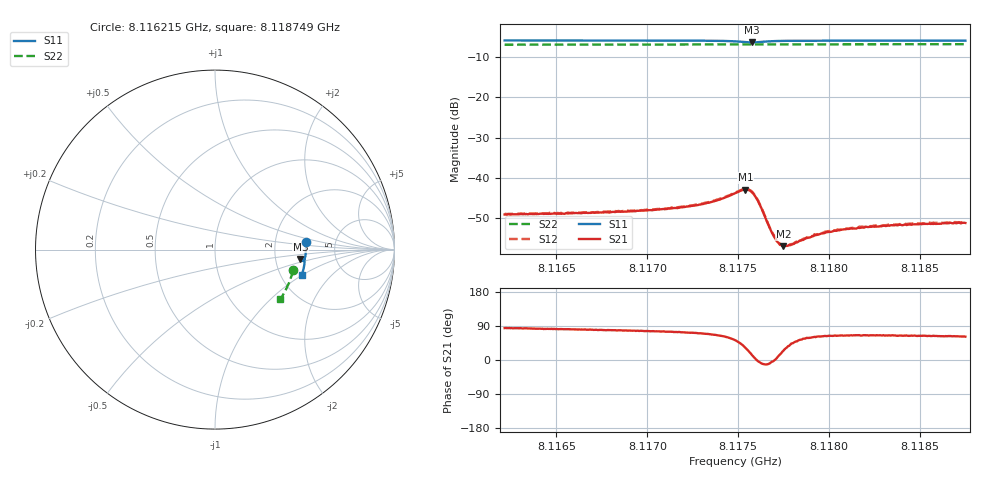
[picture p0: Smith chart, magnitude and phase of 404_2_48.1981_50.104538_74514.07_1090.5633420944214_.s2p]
#  HZ  S  RI  R  50.00
! Rohde & Schwarz Vector Network Analyzer
! Rohde-Schwarz,ZNB20-2Port,1311601062101988,3.16
! Created: UTC 3/20/2024, 11:54:09 AM
! freq[Hz]  re:S11  im:S11  re:S21  im:S21  re:S12  im:S12  re:S22  im:S22
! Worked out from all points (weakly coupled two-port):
!   401 points, 8.116215 GHz to 8.118749 GHz, reference 50 ohm
!   highest |S21| = -42.86 dB at 8.117539 GHz (marker M1); lowest = -56.9 dB at 8.117748 GHz (marker M2)
!   lowest |S11| = -6.4 dB at 8.117577 GHz (marker M3), VSWR 2.84, Z = 139 - j19.1 ohm
!   |S11| at or under -10 dB: nowhere
!   |S22| runs from -6.9 to -6.8 dB; largest |S21 - S12| = 0.00019
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8.1162151e9  0.5053 0.0423  0.000357 0.00351  0.00041 0.00359  0.4342 -0.1157
8.1166395e9  0.5063 0.0102  0.000608 0.00362  0.00069 0.00369  0.4268 -0.1442
8.1170639e9  0.505 -0.0229  0.00102 0.00394  0.0011 0.00399  0.4174 -0.1723
8.117178e9  0.504 -0.0322  0.0012 0.00413  0.00129 0.00419  0.4145 -0.1799
8.1172983e9  0.5021 -0.043  0.00161 0.00446  0.00168 0.00449  0.4114 -0.1879
8.1173997e9  0.4984 -0.0529  0.00236 0.00487  0.00242 0.005  0.4085 -0.1944
8.117482e9  0.4907 -0.0612  0.00395 0.00514  0.00411 0.00519  0.4058 -0.1996
8.1175391e9  0.48 -0.0611  0.00607 0.00386  0.00619 0.00391  0.4038 -0.2028
8.1175581e9  0.4769 -0.0576  0.00653 0.00275  0.00666 0.00274  0.4031 -0.2039
8.1175771e9  0.4762 -0.0528  0.00645 0.00138  0.00657 0.00138  0.4026 -0.2048
8.1175961e9  0.4783 -0.0483  0.00578 0.000233  0.00593 0.000177  0.4023 -0.2056
8.1176151e9  0.4822 -0.0459  0.00481 -0.000431  0.00487 -0.000556  0.4019 -0.2068
8.1176721e9  0.4927 -0.0488  0.0024 -0.000388  0.00242 -0.000437  0.4009 -0.2104
8.1176974e9  0.4952 -0.0519  0.00186 -4.13e-05  0.00195 -8.35e-05  0.4001 -0.2122
8.1177228e9  0.4968 -0.0551  0.00152 0.000308  0.00159 0.000252  0.3993 -0.2139
8.1177481e9  0.4978 -0.058  0.0013 0.000593  0.00133 0.000617  0.3987 -0.2155
8.1177925e9  0.4986 -0.0631  0.00108 0.00103  0.00113 0.00102  0.3973 -0.2184
8.1179065e9  0.4986 -0.0743  0.000963 0.00164  0.000968 0.00164  0.3937 -0.2258
8.1179888e9  0.4978 -0.0814  0.000968 0.0019  0.000996 0.00195  0.391 -0.2308
8.1180775e9  0.4968 -0.0887  0.00101 0.00208  0.000975 0.00211  0.3881 -0.2363
8.1183309e9  0.4929 -0.1083  0.00108 0.00232  0.00114 0.00239  0.3791 -0.2518
8.118749e9  0.485 -0.1391  0.00132 0.00244  0.00138 0.00252  0.363 -0.2761
